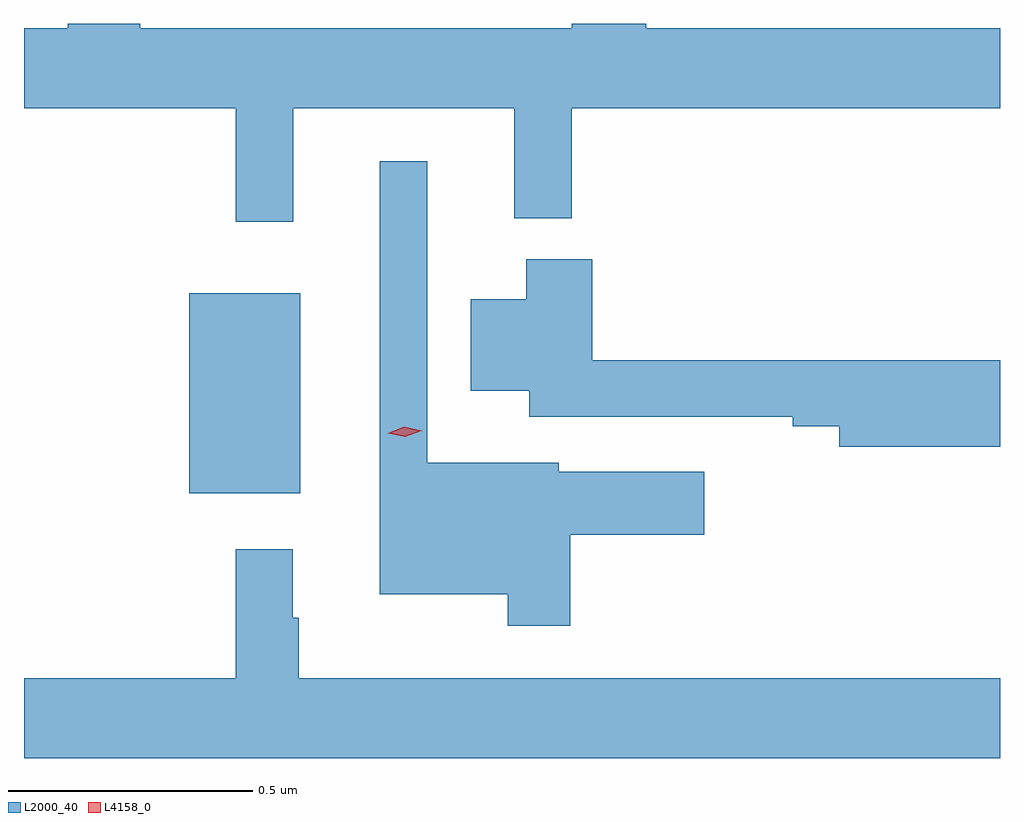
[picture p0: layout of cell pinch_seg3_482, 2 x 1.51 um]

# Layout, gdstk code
import gdstk
lib = gdstk.Library(unit=1e-6, precision=1e-09)
def R(c, l, rs):  # rectangles x0, y0, x1, y1
    for r in rs: c.add(gdstk.rectangle(r[:2], r[2:], *l))
def P(c, l, *ps):  # polygons
    for p in ps: c.add(gdstk.Polygon(p, *l))
L2000_40 = (2000, 40)
L4158_0 = (4158, 0)

pinch_seg3_482 = lib.new_cell('pinch_seg3_482')
R(pinch_seg3_482, L2000_40, [(937.46,682.811,937.687,683.221)])
P(pinch_seg3_482, L2000_40, [(937.673,683.6),(938.126,683.6),(938.126,683.375),(938.243,683.375),(938.243,683.6),(939.121,683.6),(939.121,683.764),(938.396,683.764),(938.396,683.773),(938.243,683.773),(938.243,683.764),(937.359,683.764),(937.359,683.773),(937.211,683.773),(937.211,683.764),(937.121,683.764),(937.121,683.6),(937.555,683.6),(937.555,683.367),(937.673,683.367)],
  [(938.24,682.726),(938.515,682.726),(938.515,682.855),(938.217,682.855),(938.217,682.873),(937.947,682.873),(937.947,683.491),(937.85,683.491),(937.85,682.604),(938.112,682.604),(938.112,682.539),(938.24,682.539)],
  [(939.121,683.084),(938.285,683.084),(938.285,683.29),(938.15,683.29),(938.15,683.209),(938.036,683.209),(938.036,683.021),(938.156,683.021),(938.156,682.968),(938.696,682.968),(938.696,682.948),(938.792,682.948),(938.792,682.906),(939.121,682.906)],
  [(939.121,682.432),(937.684,682.432),(937.684,682.556),(937.672,682.556),(937.672,682.696),(937.555,682.696),(937.555,682.432),(937.121,682.432),(937.121,682.268),(939.121,682.268)])
P(pinch_seg3_482, L4158_0, [(937.902,682.927),(937.866,682.934),(937.866,682.934),(937.866,682.934),(937.9,682.947),(937.936,682.939),(937.937,682.939),(937.936,682.939)])

lib.write_gds('pinch_seg3_482.gds')
